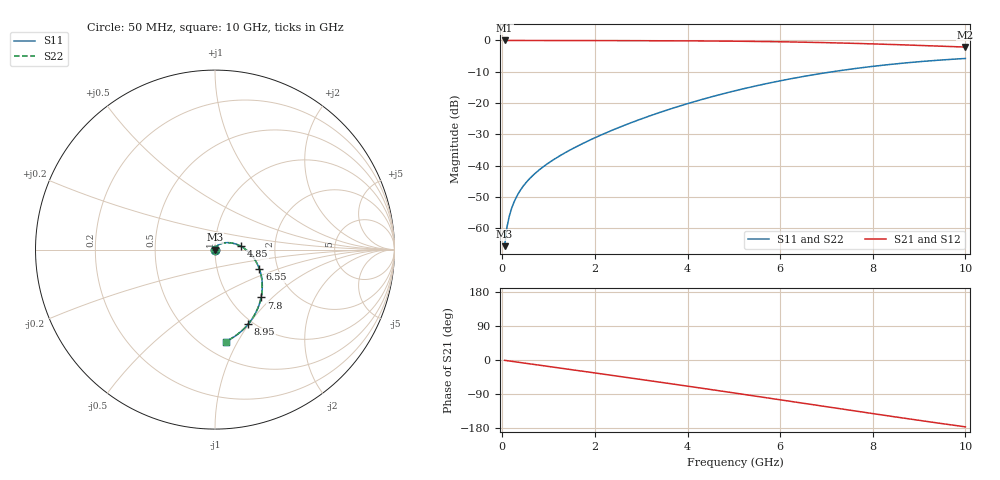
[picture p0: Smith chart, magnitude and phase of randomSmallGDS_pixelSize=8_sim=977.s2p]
! freq	dB(S11)	phase(S11)	dB(S12)	phase(S12)
!  dB(S21)	phase(S21)	dB(S22)	phase(S22)
!S-par simulation data
#  GHz  S  DB  R 50
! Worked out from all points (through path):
!   200 points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, 50 MHz to 10 GHz, reference 50 ohm
!   highest |S21| = 0.00 dB at 50 MHz (marker M1); lowest = -2.1 dB at 10 GHz (marker M2)
!   group delay of S21, straight-line fit = 49.4 ps
!   lowest |S11| = -65.7 dB at 50 MHz (marker M3), VSWR 1.00, Z = 50 + j0.052 ohm
!   |S11| at or under -10 dB: start of sweep to 7.121 GHz
!   |S22| runs from -65.7 to -5.8 dB; largest |S21 - S12| = 0
!   S11 on the Smith chart (normalised r, x): 50 MHz: 1.00, +0.00; 4.85 GHz: 1.34, +0.05; 6.55 GHz: 1.60, -0.37; 7.8 GHz: 1.39, -0.86; 8.95 GHz: 0.95, -0.99; 10 GHz: 0.64, -0.89
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0.05  -65.66 85.0  -0.00 -0.9  -0.00 -0.9  -65.66 85.0
0.1  -59.65 86.1  -0.00 -1.7  -0.00 -1.7  -59.65 86.0
0.15  -56.13 85.8  -0.00 -2.6  -0.00 -2.6  -56.13 85.8
0.2  -53.63 85.2  -0.00 -3.4  -0.00 -3.4  -53.63 85.2
0.3  -50.10 83.7  -0.00 -5.2  -0.00 -5.2  -50.10 83.7
0.45  -46.54 81.4  -0.01 -7.7  -0.01 -7.7  -46.54 81.3
0.65  -43.23 78.3  -0.01 -11.1  -0.01 -11.1  -43.23 78.2
0.95  -39.61 73.8  -0.02 -16.2  -0.02 -16.2  -39.61 73.7
1.3  -36.31 68.4  -0.03 -22.2  -0.03 -22.2  -36.32 68.3
1.75  -32.79 61.2  -0.04 -29.9  -0.04 -29.9  -32.80 61.1
2.55  -27.59 47.7  -0.06 -43.6  -0.06 -43.6  -27.59 47.6
3.4  -22.98 32.9  -0.09 -58.4  -0.09 -58.4  -22.98 32.8
4.15  -19.51 19.6  -0.14 -71.6  -0.14 -71.6  -19.52 19.5
4.85  -16.70 7.1  -0.21 -84.1  -0.21 -84.1  -16.71 7.0
5.05  -15.97 3.5  -0.24 -87.7  -0.24 -87.7  -15.97 3.4
5.8  -13.48 -10.0  -0.37 -101.3  -0.37 -101.3  -13.48 -10.1
6.55  -11.37 -23.6  -0.56 -115.1  -0.56 -115.1  -11.37 -23.7
6.7  -10.99 -26.3  -0.60 -117.8  -0.60 -117.8  -10.99 -26.4
7.8  -8.62 -46.0  -1.01 -137.9  -1.01 -137.9  -8.63 -46.1
8.35  -7.69 -55.7  -1.25 -147.7  -1.25 -147.7  -7.69 -55.8
8.95  -6.85 -66.0  -1.55 -158.4  -1.55 -158.4  -6.85 -66.1
10  -5.75 -83.3  -2.11 -176.4  -2.11 -176.4  -5.75 -83.5
